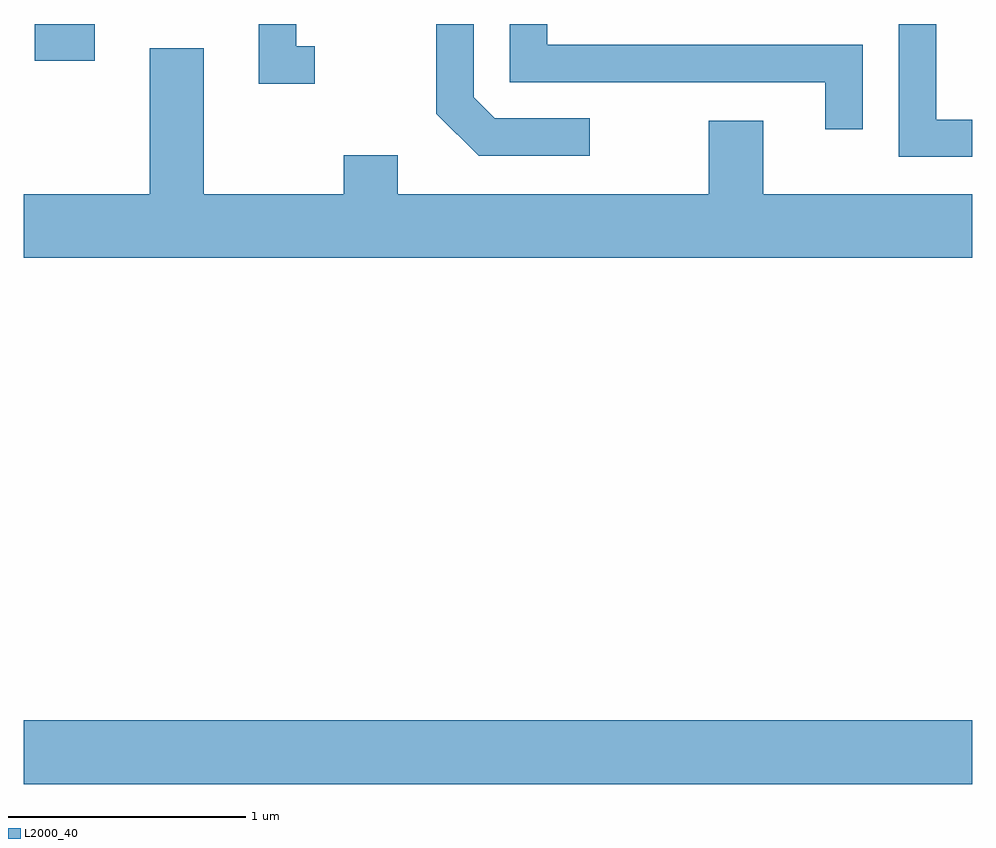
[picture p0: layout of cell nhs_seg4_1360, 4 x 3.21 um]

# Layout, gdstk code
import gdstk
lib = gdstk.Library(unit=1e-6, precision=1e-09)
def R(c, l, rs):  # rectangles x0, y0, x1, y1
    for r in rs: c.add(gdstk.rectangle(r[:2], r[2:], *l))
def P(c, l, *ps):  # polygons
    for p in ps: c.add(gdstk.Polygon(p, *l))
L2000_40 = (2000, 40)

nhs_seg4_1360 = lib.new_cell('nhs_seg4_1360')
R(nhs_seg4_1360, L2000_40, [(225.611,1254.776,229.611,1255.044), (225.656,1257.826,225.909,1257.982)])
P(nhs_seg4_1360, L2000_40, [(229.611,1257.579),(229.459,1257.579),(229.459,1257.982),(229.301,1257.982),(229.301,1257.421),(229.611,1257.421)],
  [(226.838,1257.889),(226.759,1257.889),(226.759,1257.982),(226.601,1257.982),(226.601,1257.731),(226.838,1257.731)],
  [(227.998,1257.584),(227.597,1257.584),(227.509,1257.672),(227.509,1257.982),(227.351,1257.982),(227.351,1257.604),(227.529,1257.426),(227.998,1257.426)],
  [(229.149,1257.894),(227.819,1257.894),(227.819,1257.982),(227.661,1257.982),(227.661,1257.736),(228.991,1257.736),(228.991,1257.538),(229.149,1257.538)],
  [(229.611,1257.264),(228.729,1257.264),(228.729,1257.574),(228.501,1257.574),(228.501,1257.264),(227.189,1257.264),(227.189,1257.429),(226.961,1257.429),(226.961,1257.264),(226.369,1257.264),(226.369,1257.879),(226.141,1257.879),(226.141,1257.264),(225.611,1257.264),(225.611,1256.996),(229.611,1256.996)])

lib.write_gds('nhs_seg4_1360.gds')
